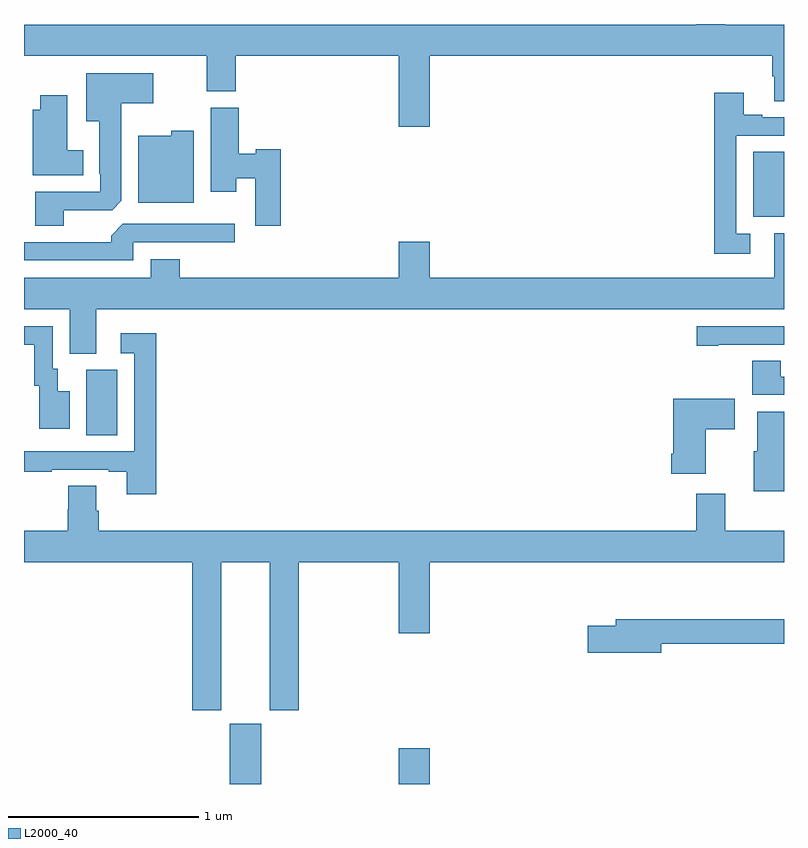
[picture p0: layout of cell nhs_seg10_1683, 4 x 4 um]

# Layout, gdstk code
import gdstk
lib = gdstk.Library(unit=1e-6, precision=1e-09)
def R(c, l, rs):  # rectangles x0, y0, x1, y1
    for r in rs: c.add(gdstk.rectangle(r[:2], r[2:], *l))
def P(c, l, *ps):  # polygons
    for p in ps: c.add(gdstk.Polygon(p, *l))
L2000_40 = (2000, 40)

nhs_seg10_1683 = lib.new_cell('nhs_seg10_1683')
R(nhs_seg10_1683, L2000_40, [(200.084,1280.5,200.248,1280.817), (200.972,1280.5,201.136,1280.689), (199.328,1282.336,199.492,1282.68), (202.838,1283.485,203,1283.828)])
P(nhs_seg10_1683, L2000_40, [(201.136,1284.332),(202.937,1284.332),(202.937,1284.226),(202.949,1284.226),(202.949,1284.094),(203,1284.094),(203,1284.496),(202.69,1284.496),(202.69,1284.5),(202.538,1284.5),(202.538,1284.496),(199,1284.496),(199,1284.332),(199.961,1284.332),(199.961,1284.145),(200.114,1284.145),(200.114,1284.332),(200.972,1284.332),(200.972,1283.958),(201.136,1283.958)],
  [(199.21,1283.52),(199.464,1283.52),(199.513,1283.569),(199.513,1284.083),(199.681,1284.083),(199.681,1284.241),(199.328,1284.241),(199.328,1283.987),(199.397,1283.987),(199.397,1283.713),(199.401,1283.713),(199.401,1283.616),(199.058,1283.616),(199.058,1283.437),(199.21,1283.437)],
  [(202.822,1283.397),(202.749,1283.397),(202.749,1283.913),(203,1283.913),(203,1284.009),(202.885,1284.009),(202.885,1284.022),(202.789,1284.022),(202.789,1284.139),(202.633,1284.139),(202.633,1283.292),(202.822,1283.292)],
  [(199.312,1283.836),(199.228,1283.836),(199.228,1284.124),(199.085,1284.124),(199.085,1284.049),(199.046,1284.049),(199.046,1283.705),(199.312,1283.705)],
  [(200.351,1283.84),(200.22,1283.84),(200.22,1283.817),(200.129,1283.817),(200.129,1284.06),(199.982,1284.06),(199.982,1283.616),(200.116,1283.616),(200.116,1283.687),(200.216,1283.687),(200.216,1283.439),(200.351,1283.439)],
  [(199.894,1283.938),(199.776,1283.938),(199.776,1283.911),(199.601,1283.911),(199.601,1283.558),(199.894,1283.558)],
  [(199.575,1283.352),(200.11,1283.352),(200.11,1283.448),(199.521,1283.448),(199.46,1283.386),(199.46,1283.352),(199,1283.352),(199,1283.256),(199.575,1283.256)],
  [(199.381,1283),(203,1283),(203,1283.4),(202.949,1283.4),(202.949,1283.164),(201.136,1283.164),(201.136,1283.353),(200.972,1283.353),(200.972,1283.164),(199.82,1283.164),(199.82,1283.263),(199.667,1283.263),(199.667,1283.164),(199,1283.164),(199,1283),(199.241,1283),(199.241,1282.765),(199.381,1282.765)],
  [(202.654,1282.812),(203,1282.812),(203,1282.908),(202.542,1282.908),(202.542,1282.807),(202.654,1282.807)],
  [(199.24,1282.567),(199.177,1282.567),(199.177,1282.686),(199.152,1282.686),(199.152,1282.908),(199,1282.908),(199,1282.812),(199.055,1282.812),(199.055,1282.596),(199.079,1282.596),(199.079,1282.371),(199.24,1282.371)],
  [(199.697,1282.873),(199.509,1282.873),(199.509,1282.767),(199.581,1282.767),(199.581,1282.251),(199,1282.251),(199,1282.143),(199.145,1282.143),(199.145,1282.155),(199.445,1282.155),(199.445,1282.143),(199.541,1282.143),(199.541,1282.026),(199.697,1282.026)],
  [(203,1282.644),(202.984,1282.644),(202.984,1282.727),(202.832,1282.727),(202.832,1282.548),(203,1282.548)],
  [(202.588,1282.366),(202.741,1282.366),(202.741,1282.528),(202.418,1282.528),(202.418,1282.237),(202.406,1282.237),(202.406,1282.133),(202.588,1282.133)],
  [(203,1282.459),(202.859,1282.459),(202.859,1282.251),(202.841,1282.251),(202.841,1282.041),(203,1282.041)],
  [(200.038,1281.668),(200.294,1281.668),(200.294,1280.889),(200.447,1280.889),(200.447,1281.668),(200.972,1281.668),(200.972,1281.294),(201.136,1281.294),(201.136,1281.668),(203,1281.668),(203,1281.832),(202.69,1281.832),(202.69,1282.027),(202.538,1282.027),(202.538,1281.832),(199.394,1281.832),(199.394,1281.938),(199.381,1281.938),(199.381,1282.07),(199.234,1282.07),(199.234,1281.945),(199.229,1281.945),(199.229,1281.832),(199,1281.832),(199,1281.668),(199.886,1281.668),(199.886,1280.889),(200.038,1280.889)],
  [(202.354,1281.238),(203,1281.238),(203,1281.367),(202.115,1281.367),(202.115,1281.333),(201.966,1281.333),(201.966,1281.191),(202.354,1281.191)])

lib.write_gds('nhs_seg10_1683.gds')
